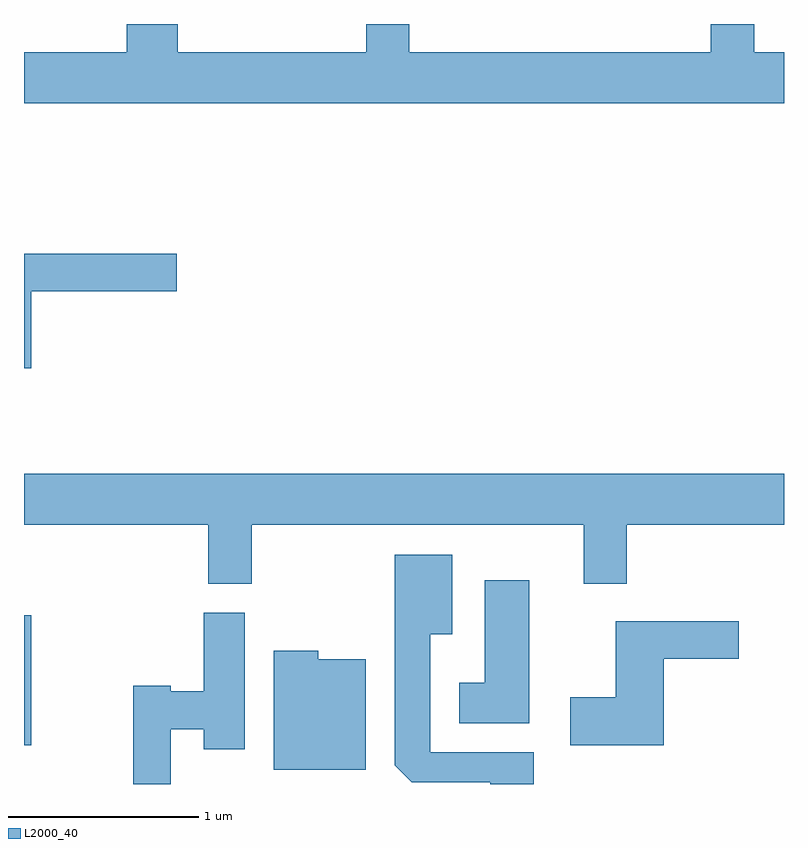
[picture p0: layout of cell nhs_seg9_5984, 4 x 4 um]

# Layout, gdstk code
import gdstk
lib = gdstk.Library(unit=1e-6, precision=1e-09)
def R(c, l, rs):  # rectangles x0, y0, x1, y1
    for r in rs: c.add(gdstk.rectangle(r[:2], r[2:], *l))
def P(c, l, *ps):  # polygons
    for p in ps: c.add(gdstk.Polygon(p, *l))
L2000_40 = (2000, 40)

nhs_seg9_5984 = lib.new_cell('nhs_seg9_5984')
R(nhs_seg9_5984, L2000_40, [(361.611,2010.636,361.649,2011.319)])
P(nhs_seg9_5984, L2000_40, [(365.611,2014.284),(365.454,2014.284),(365.454,2014.432),(365.226,2014.432),(365.226,2014.284),(363.639,2014.284),(363.639,2014.432),(363.411,2014.432),(363.411,2014.284),(362.419,2014.284),(362.419,2014.432),(362.151,2014.432),(362.151,2014.284),(361.611,2014.284),(361.611,2014.016),(365.611,2014.016)],
  [(361.649,2013.026),(362.414,2013.026),(362.414,2013.224),(361.611,2013.224),(361.611,2012.621),(361.649,2012.621)],
  [(362.809,2011.796),(364.556,2011.796),(364.556,2011.486),(364.784,2011.486),(364.784,2011.796),(365.611,2011.796),(365.611,2012.064),(361.611,2012.064),(361.611,2011.796),(362.581,2011.796),(362.581,2011.486),(362.809,2011.486)],
  [(364.294,2010.599),(363.749,2010.599),(363.749,2011.221),(363.864,2011.221),(363.864,2011.639),(363.561,2011.639),(363.561,2010.532),(363.652,2010.441),(364.066,2010.441),(364.066,2010.432),(364.294,2010.432)],
  [(364.269,2011.504),(364.036,2011.504),(364.036,2010.964),(363.901,2010.964),(363.901,2010.751),(364.269,2010.751)],
  [(362.384,2010.721),(362.556,2010.721),(362.556,2010.616),(362.774,2010.616),(362.774,2011.334),(362.556,2011.334),(362.556,2010.919),(362.384,2010.919),(362.384,2010.949),(362.186,2010.949),(362.186,2010.432),(362.384,2010.432)],
  [(364.979,2011.091),(365.374,2011.091),(365.374,2011.289),(364.726,2011.289),(364.726,2010.889),(364.486,2010.889),(364.486,2010.636),(364.979,2010.636)],
  [(363.409,2011.089),(363.159,2011.089),(363.159,2011.134),(362.926,2011.134),(362.926,2010.506),(363.409,2010.506)])

lib.write_gds('nhs_seg9_5984.gds')
